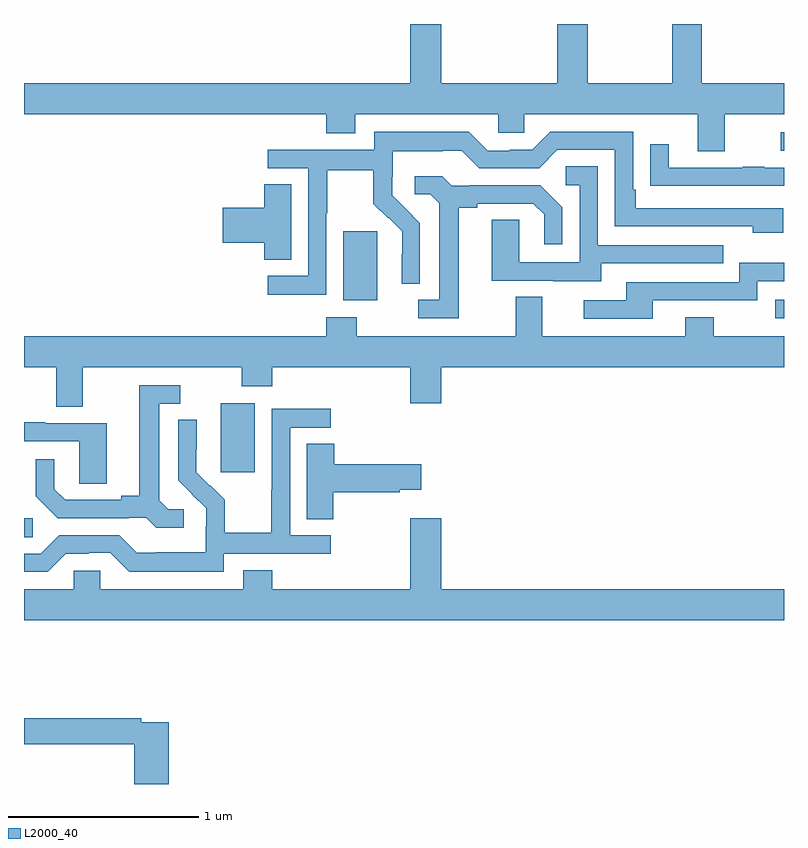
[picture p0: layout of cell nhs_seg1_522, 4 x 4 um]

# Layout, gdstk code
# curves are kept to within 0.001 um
import gdstk
lib = gdstk.Library(unit=1e-6, precision=1e-09)
def R(c, l, rs):  # rectangles x0, y0, x1, y1
    for r in rs: c.add(gdstk.rectangle(r[:2], r[2:], *l))
def P(c, l, *ps):  # polygons
    for p in ps: c.add(gdstk.Polygon(p, *l))
L2000_40 = (2000, 40)

nhs_seg1_522 = lib.new_cell('nhs_seg1_522')
R(nhs_seg1_522, L2000_40, [(139,557.497,139.045,557.598), (140.036,557.841,140.215,558.202), (142.953,558.651,143,558.747), (140.681,558.746,140.86,559.107), (142.983,559.533,143,559.629)])
P(nhs_seg1_522, L2000_40, [(142.566,560.199),(142.411,560.199),(142.411,559.888),(141.966,559.888),(141.966,560.199),(141.806,560.199),(141.806,559.888),(141.196,559.888),(141.196,560.199),(141.032,560.199),(141.032,559.888),(139,559.888),(139,559.724),(140.591,559.724),(140.591,559.625),(140.743,559.625),(140.743,559.724),(141.495,559.724),(141.495,559.626),(141.633,559.626),(141.633,559.724),(142.547,559.724),(142.547,559.53),(142.687,559.53),(142.687,559.724),(143,559.724),(143,559.888),(142.566,559.888)],
  [(140.592,559.204),(140.595,559.204),(140.595,559.428),(140.839,559.428),(140.839,559.253),(140.916,559.176),(140.919,559.179),(140.99,559.109),(140.99,558.986),(140.988,558.986),(140.988,558.832),(141.084,558.832),(141.084,559.15),(140.938,559.298),(140.938,559.395),(140.94,559.395),(140.94,559.529),(141.203,559.529),(141.203,559.533),(141.303,559.533),(141.396,559.44),(141.711,559.44),(141.807,559.536),(142.11,559.536),(142.11,559.134),(142.835,559.134),(142.835,559.1),(142.996,559.1),(142.996,559.23),(142.219,559.23),(142.219,559.327),(142.206,559.327),(142.206,559.632),(141.771,559.632),(141.675,559.536),(141.557,559.536),(141.557,559.533),(141.441,559.533),(141.341,559.633),(140.844,559.633),(140.844,559.536),(140.283,559.536),(140.283,559.44),(140.496,559.44),(140.496,558.873),(140.283,558.873),(140.283,558.775),(140.592,558.775)],
  [(143,559.443),(142.895,559.443),(142.895,559.448),(142.783,559.448),(142.783,559.443),(142.393,559.443),(142.393,559.567),(142.297,559.567),(142.297,559.348),(142.399,559.348),(142.399,559.347),(143,559.347)],
  [(142.039,558.939),(142.679,558.939),(142.679,559.035),(142.02,559.035),(142.02,559.451),(141.852,559.451),(141.852,559.35),(141.924,559.35),(141.924,558.945),(141.606,558.945),(141.606,559.169),(141.461,559.169),(141.461,558.849),(141.785,558.849),(141.785,558.845),(142.039,558.845)],
  [(141.289,559.232),(141.385,559.232),(141.385,559.254),(141.68,559.254),(141.737,559.197),(141.737,559.041),(141.834,559.041),(141.834,559.234),(141.718,559.35),(141.346,559.35),(141.346,559.347),(141.252,559.347),(141.2,559.399),(141.057,559.399),(141.057,559.302),(141.138,559.302),(141.185,559.255),(141.185,558.747),(141.075,558.747),(141.075,558.651),(141.289,558.651)],
  [(140.407,559.355),(140.264,559.355),(140.264,559.232),(140.046,559.232),(140.046,559.049),(140.264,559.049),(140.264,558.958),(140.407,558.958)],
  [(142.309,558.744),(142.86,558.744),(142.86,558.846),(143,558.846),(143,558.943),(142.764,558.943),(142.764,558.84),(142.169,558.84),(142.169,558.744),(141.945,558.744),(141.945,558.648),(142.309,558.648)],
  [(139.309,558.392),(140.146,558.392),(140.146,558.293),(140.306,558.293),(140.306,558.392),(141.032,558.392),(141.032,558.204),(141.196,558.204),(141.196,558.392),(143,558.392),(143,558.556),(142.629,558.556),(142.629,558.655),(142.481,558.655),(142.481,558.556),(141.727,558.556),(141.727,558.764),(141.587,558.764),(141.587,558.556),(140.751,558.556),(140.751,558.655),(140.591,558.655),(140.591,558.556),(139,558.556),(139,558.392),(139.169,558.392),(139.169,558.184),(139.309,558.184)],
  [(139.84,557.646),(139.758,557.646),(139.711,557.693),(139.711,558.201),(139.822,558.201),(139.822,558.297),(139.607,558.297),(139.607,557.717),(139.511,557.717),(139.511,557.694),(139.216,557.694),(139.159,557.751),(139.159,557.908),(139.062,557.908),(139.062,557.714),(139.178,557.598),(139.55,557.598),(139.55,557.601),(139.644,557.601),(139.696,557.549),(139.84,557.549)],
  [(140.052,557.412),(140.614,557.412),(140.614,557.508),(140.4,557.508),(140.4,558.075),(140.614,558.075),(140.614,558.174),(140.304,558.174),(140.304,557.744),(140.302,557.744),(140.302,557.521),(140.057,557.521),(140.057,557.695),(139.98,557.772),(139.977,557.769),(139.907,557.84),(139.908,558.116),(139.812,558.116),(139.812,557.798),(139.958,557.65),(139.958,557.553),(139.956,557.553),(139.956,557.419),(139.693,557.419),(139.693,557.415),(139.593,557.415),(139.5,557.508),(139.185,557.508),(139.089,557.412),(139,557.412),(139,557.316),(139.125,557.316),(139.221,557.412),(139.34,557.412),(139.34,557.415),(139.455,557.415),(139.555,557.315),(140.052,557.315)],
  [(139.435,558.099),(139.111,558.099),(139.111,558.103),(139,558.103),(139,558.003),(139.29,558.003),(139.29,557.779),(139.435,557.779)],
  [(140.628,557.735),(140.978,557.735),(140.978,557.747),(141.091,557.747),(141.091,557.882),(140.633,557.882),(140.633,557.99),(140.489,557.99),(140.489,557.593),(140.628,557.593)],
  [(143,557.224),(141.196,557.224),(141.196,557.599),(141.032,557.599),(141.032,557.224),(140.306,557.224),(140.306,557.323),(140.153,557.323),(140.153,557.224),(139.401,557.224),(139.401,557.322),(139.263,557.322),(139.263,557.224),(139,557.224),(139,557.06),(143,557.06)],
  [(139.763,556.524),(139.616,556.524),(139.616,556.544),(139,556.544),(139,556.408),(139.58,556.408),(139.58,556.199),(139.763,556.199)])

lib.write_gds('nhs_seg1_522.gds')
